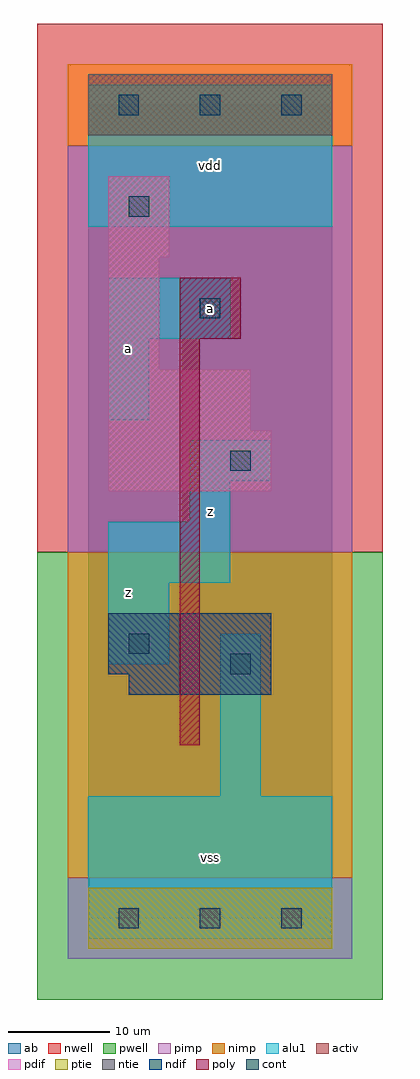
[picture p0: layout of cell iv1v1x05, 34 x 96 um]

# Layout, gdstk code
import gdstk
lib = gdstk.Library(unit=1e-6, precision=1e-09)
def R(c, l, rs):  # rectangles x0, y0, x1, y1
    for r in rs: c.add(gdstk.rectangle(r[:2], r[2:], *l))
def A(c, l, x, y, w, h, nx, ny, dx, dy):  # array of equal rectangles
    R(c, l, [(x+i*dx, y+j*dy, x+i*dx+w, y+j*dy+h) for i in range(nx) for j in range(ny)])
ndif = (3, 0)
pdif = (4, 0)
ntie = (5, 0)
ptie = (6, 0)
cont = (25, 0)
pwell = (41, 0)
nwell = (42, 0)
activ = (43, 0)
pimp = (44, 0)
nimp = (45, 0)
poly = (46, 0)
alu1 = (49, 0)
ab = (63, 0)

iv1v1x05 = lib.new_cell('iv1v1x05')
R(iv1v1x05, ndif, [(4,22,18,24), (2,24,18,30)])
R(iv1v1x05, pdif, [(2,42,18,48), (2,48,16,54), (2,54,7,65), (2,65,8,73)])
R(iv1v1x05, ntie, [(0,77,24,83)])
R(iv1v1x05, ptie, [(0,-3,24,3)])
A(iv1v1x05, cont, 3, -1, 2, 2, 3, 2, 8, 80)
R(iv1v1x05, cont, [(14,24,16,26), (4,26,6,28), (14,44,16,46), (11,59,13,61), (4,69,6,71)])
R(iv1v1x05, pwell, [(-5,-8,29,36)])
R(iv1v1x05, nwell, [(-5,36,29,88)])
R(iv1v1x05, activ, [(0,-3,24,3), (4,22,18,24), (2,24,18,30), (2,42,18,48), (2,48,16,54), (2,54,7,65), (2,65,8,73), (0,77,24,83)])
R(iv1v1x05, pimp, [(-2,-4,26,4), (-2,36,26,76)])
R(iv1v1x05, nimp, [(-2,4,26,36), (-2,76,26,84)])
R(iv1v1x05, poly, [(9,17,11,57), (9,57,15,63)])
R(iv1v1x05, alu1, [(0,-2,24,12), (13,12,17,28), (2,25,8,33), (2,33,14,39), (10,39,14,43), (10,43,18,47), (2,49,6,57), (2,57,14,63), (0,68,24,82)])
R(iv1v1x05, ab, [(0,0,24,80)])
iv1v1x05.add(gdstk.Label('z', (4,32), layer=49, texttype=0))
iv1v1x05.add(gdstk.Label('a', (4,56), layer=49, texttype=0))
iv1v1x05.add(gdstk.Label('vss', (12,6), layer=49, texttype=0))
iv1v1x05.add(gdstk.Label('z', (12,40), layer=49, texttype=0))
iv1v1x05.add(gdstk.Label('vdd', (12,74), layer=49, texttype=0))
iv1v1x05.add(gdstk.Label('a', (12,60), layer=49, texttype=0))

lib.write_gds('iv1v1x05.gds')
